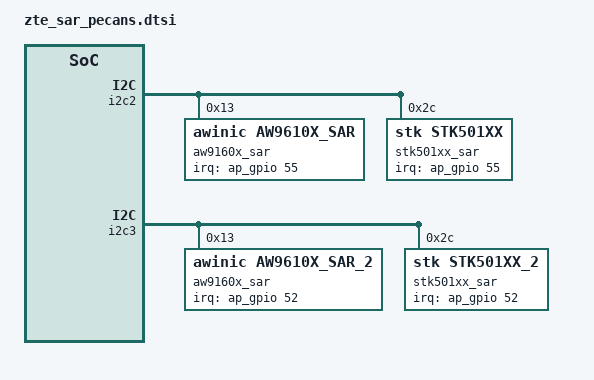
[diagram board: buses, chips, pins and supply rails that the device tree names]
/* add zte sar start */
&i2c2 {
	status = "okay";
	aw9160x_sar@13 {
		compatible = "awinic,aw9610x_sar";
		reg = <0x13>;

		irq-gpio = <&ap_gpio 55 0>;
		chip_name = "AW96103";
		status = "okay" ;
	};

	stk501xx_sar@2c {
		compatible = "stk,stk501xx";
		reg = <0x2c>;

		stk501xx,irq-gpio = <&ap_gpio 55 0>;
		chip_name = "STK50153";
		status = "okay" ;
	};
};

&i2c3 {
	status = "okay";
	aw9160x_sar@13 {
		compatible = "awinic,aw9610x_sar_2";
		reg = <0x13>;

		irq-gpio = <&ap_gpio 52 0>;
		chip_name = "AW96103";
		status = "okay" ;
	};

	stk501xx_sar@2c {
		compatible = "stk,stk501xx_2";
		reg = <0x2c>;

		stk501xx,irq-gpio = <&ap_gpio 52 0>;
		chip_name = "STK50153";
		status = "okay" ;
	};
};

/* add zte sar end */
